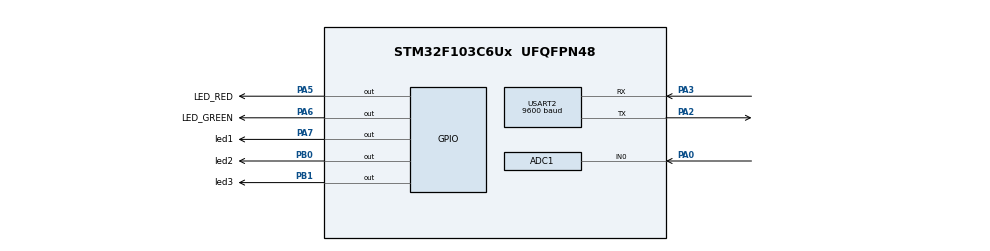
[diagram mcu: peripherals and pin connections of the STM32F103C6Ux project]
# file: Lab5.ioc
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ADC1.Channel-0\#ChannelRegularConversion=ADC_CHANNEL_0
ADC1.ContinuousConvMode=ENABLE
ADC1.NbrOfConversionFlag=1
ADC1.Rank-0\#ChannelRegularConversion=1
ADC1.SamplingTime-0\#ChannelRegularConversion=ADC_SAMPLETIME_1CYCLE_5
ADC1.master=1
Mcu.Family=STM32F1
Mcu.Name=STM32F103C6Ux
Mcu.Package=UFQFPN48
NVIC.PriorityGroup=NVIC_PRIORITYGROUP_4
NVIC.TIM2_IRQn=true\:0\:0\:false\:false\:true\:true\:true
NVIC.USART2_IRQn=true\:0\:0\:false\:false\:true\:true\:true
PA0-WKUP.Signal=ADCx_IN0
PA2.Mode=Asynchronous
PA2.Signal=USART2_TX
PA3.Mode=Asynchronous
PA3.Signal=USART2_RX
PA5.GPIO_Label=LED_RED
PA5.Signal=GPIO_Output
PA6.GPIO_Label=LED_GREEN
PA6.Signal=GPIO_Output
PA7.GPIO_Label=led1
PA7.Signal=GPIO_Output
PB0.GPIO_Label=led2
PB0.Signal=GPIO_Output
PB1.GPIO_Label=led3
PB1.Signal=GPIO_Output
ProjectManager.HeapSize=0x200
ProjectManager.StackSize=0x400
ProjectManager.TargetToolchain=STM32CubeIDE
RCC.APB1Freq_Value=8000000
RCC.APB2Freq_Value=8000000
SH.ADCx_IN0.0=ADC1_IN0,IN0
TIM2.Period=9
TIM2.Prescaler=7999
USART2.BaudRate=9600
USART2.VirtualMode=VM_ASYNC
VP_SYS_VS_ND.Mode=No_Debug
VP_TIM2_VS_ClockSourceINT.Mode=Internal
board=custom

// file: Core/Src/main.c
/* USER CODE BEGIN Header */
/**
  ******************************************************************************
  * @file           : main.c
  * @brief          : Main program body
  ******************************************************************************
  * @attention
  *
  * <h2><center>&copy; Copyright (c) 2023 STMicroelectronics.
  * All rights reserved.</center></h2>
  *
  * This software component is licensed by ST under BSD 3-Clause license,
  * the "License"; You may not use this file except in compliance with the
  * License. You may obtain a copy of the License at:
  *                        opensource.org/licenses/BSD-3-Clause
  *
  ******************************************************************************
  */
/* USER CODE END Header */
#include "main.h"

/* USER CODE BEGIN Includes */
#include "scheduler.h"
#include "fsm.h"
#include "software_timer.h"
/* USER CODE END Includes */

ADC_HandleTypeDef hadc1;

TIM_HandleTypeDef htim2;

UART_HandleTypeDef huart2;

void SystemClock_Config(void);
static void MX_TIM2_Init(void);
static void MX_GPIO_Init(void);
static void MX_ADC1_Init(void);
static void MX_USART2_UART_Init(void);

/* USER CODE BEGIN 0 */
void led1_test(){
	HAL_GPIO_TogglePin(led1_GPIO_Port, led1_Pin);
}
void led2_test(){
	HAL_GPIO_TogglePin(led2_GPIO_Port, led2_Pin);
}
void led3_test(){
	HAL_GPIO_TogglePin(led3_GPIO_Port, led3_Pin);

}
void LED_RED_test(){
	HAL_GPIO_TogglePin(LED_RED_GPIO_Port, LED_RED_Pin);

}
void LED_GREEN_test(){
	HAL_GPIO_TogglePin(LED_GREEN_GPIO_Port, LED_GREEN_Pin);
}

void HAL_UART_RxCpltCallback(UART_HandleTypeDef *huart){
	if(huart->Instance == USART2){

		HAL_UART_Transmit(&huart2, &temp, 1, 50);
		buffer[index_buffer++] = temp;

		if(index_buffer == 30) index_buffer = 0;
		buffer_flag = 1;
		HAL_UART_Receive_IT(&huart2, &temp, 1);

	}
}

void lab4(void){
	ADC_Value = HAL_ADC_GetValue(&hadc1);
	if(buffer_flag == 1){
		command_parser_fsm();
		buffer_flag = 0;
	}
	uart_communication_fsm();
}

/* USER CODE END 0 */

int main(void)
{

  /* MCU Configuration--------------------------------------------------------*/

  /* Reset of all peripherals, Initializes the Flash interface and the Systick. */
  HAL_Init();

  /* Configure the system clock */
  SystemClock_Config();

  /* Initialize all configured peripherals */
  MX_TIM2_Init();
  MX_GPIO_Init();
  MX_ADC1_Init();
  MX_USART2_UART_Init();
  /* USER CODE BEGIN 2 */
  HAL_TIM_Base_Start_IT(&htim2);
  HAL_UART_Receive_IT(&huart2, &temp, 1);
//  setTimer1(100);
//  setTimer2(100);
  HAL_ADC_Start(&hadc1);
  /* USER CODE END 2 */

  /* Infinite loop */
  /* USER CODE BEGIN WHILE */
  // Because this is function pointer so no () notation if we call function it should be led1_test()
  SCH_Init();
  SCH_Add_Task(led1_test, 200, 0);	// 1-shot test
  SCH_Add_Task(led2_test, 100, 100);
  SCH_Add_Task(led3_test, 100, 150);
  SCH_Add_Task(LED_RED_test, 100, 200);
  SCH_Add_Task(LED_GREEN_test, 100, 250);

//  SCH_Add_Task(lab4, 1, 100);
  while (1)
  {
    /* USER CODE END WHILE */

    /* USER CODE BEGIN 3 */
//	  ADC_Value = HAL_ADC_GetValue(&hadc1);
//	  if(buffer_flag == 1){
//		  command_parser_fsm();
//		  buffer_flag  = 0;
//	  }
//
//	  uart_communication_fsm();
	  SCH_Dispatch_Tasks();

  }
  /* USER CODE END 3 */
}

void SystemClock_Config(void)
{
  RCC_OscInitTypeDef RCC_OscInitStruct = {0};
  RCC_ClkInitTypeDef RCC_ClkInitStruct = {0};
  RCC_PeriphCLKInitTypeDef PeriphClkInit = {0};

  /** Initializes the RCC Oscillators according to the specified parameters
  * in the RCC_OscInitTypeDef structure.
  */
  RCC_OscInitStruct.OscillatorType = RCC_OSCILLATORTYPE_HSI;
  RCC_OscInitStruct.HSIState = RCC_HSI_ON;
  RCC_OscInitStruct.HSICalibrationValue = RCC_HSICALIBRATION_DEFAULT;
  RCC_OscInitStruct.PLL.PLLState = RCC_PLL_NONE;
  if (HAL_RCC_OscConfig(&RCC_OscInitStruct) != HAL_OK)
  {
    Error_Handler();
  }
  /** Initializes the CPU, AHB and APB buses clocks
  */
  RCC_ClkInitStruct.ClockType = RCC_CLOCKTYPE_HCLK|RCC_CLOCKTYPE_SYSCLK
                              |RCC_CLOCKTYPE_PCLK1|RCC_CLOCKTYPE_PCLK2;
  RCC_ClkInitStruct.SYSCLKSource = RCC_SYSCLKSOURCE_HSI;
  RCC_ClkInitStruct.AHBCLKDivider = RCC_SYSCLK_DIV1;
  RCC_ClkInitStruct.APB1CLKDivider = RCC_HCLK_DIV1;
  RCC_ClkInitStruct.APB2CLKDivider = RCC_HCLK_DIV1;

  if (HAL_RCC_ClockConfig(&RCC_ClkInitStruct, FLASH_LATENCY_0) != HAL_OK)
  {
    Error_Handler();
  }
  PeriphClkInit.PeriphClockSelection = RCC_PERIPHCLK_ADC;
  PeriphClkInit.AdcClockSelection = RCC_ADCPCLK2_DIV2;
  if (HAL_RCCEx_PeriphCLKConfig(&PeriphClkInit) != HAL_OK)
  {
    Error_Handler();
  }
}

static void MX_ADC1_Init(void)
{

  ADC_ChannelConfTypeDef sConfig = {0};

  /** Common config
  */
  hadc1.Instance = ADC1;
  hadc1.Init.ScanConvMode = ADC_SCAN_DISABLE;
  hadc1.Init.ContinuousConvMode = ENABLE;
  hadc1.Init.DiscontinuousConvMode = DISABLE;
  hadc1.Init.ExternalTrigConv = ADC_SOFTWARE_START;
  hadc1.Init.DataAlign = ADC_DATAALIGN_RIGHT;
  hadc1.Init.NbrOfConversion = 1;
  if (HAL_ADC_Init(&hadc1) != HAL_OK)
  {
    Error_Handler();
  }
  /** Configure Regular Channel
  */
  sConfig.Channel = ADC_CHANNEL_0;
  sConfig.Rank = ADC_REGULAR_RANK_1;
  sConfig.SamplingTime = ADC_SAMPLETIME_1CYCLE_5;
  if (HAL_ADC_ConfigChannel(&hadc1, &sConfig) != HAL_OK)
  {
    Error_Handler();
  }

}

static void MX_TIM2_Init(void)
{

  TIM_ClockConfigTypeDef sClockSourceConfig = {0};
  TIM_MasterConfigTypeDef sMasterConfig = {0};

  htim2.Instance = TIM2;
  htim2.Init.Prescaler = 7999;
  htim2.Init.CounterMode = TIM_COUNTERMODE_UP;
  htim2.Init.Period = 9;
  htim2.Init.ClockDivision = TIM_CLOCKDIVISION_DIV1;
  htim2.Init.AutoReloadPreload = TIM_AUTORELOAD_PRELOAD_DISABLE;
  if (HAL_TIM_Base_Init(&htim2) != HAL_OK)
  {
    Error_Handler();
  }
  sClockSourceConfig.ClockSource = TIM_CLOCKSOURCE_INTERNAL;
  if (HAL_TIM_ConfigClockSource(&htim2, &sClockSourceConfig) != HAL_OK)
  {
    Error_Handler();
  }
  sMasterConfig.MasterOutputTrigger = TIM_TRGO_RESET;
  sMasterConfig.MasterSlaveMode = TIM_MASTERSLAVEMODE_DISABLE;
  if (HAL_TIMEx_MasterConfigSynchronization(&htim2, &sMasterConfig) != HAL_OK)
  {
    Error_Handler();
  }

}

static void MX_USART2_UART_Init(void)
{

  huart2.Instance = USART2;
  huart2.Init.BaudRate = 9600;
  huart2.Init.WordLength = UART_WORDLENGTH_8B;
  huart2.Init.StopBits = UART_STOPBITS_1;
  huart2.Init.Parity = UART_PARITY_NONE;
  huart2.Init.Mode = UART_MODE_TX_RX;
  huart2.Init.HwFlowCtl = UART_HWCONTROL_NONE;
  huart2.Init.OverSampling = UART_OVERSAMPLING_16;
  if (HAL_UART_Init(&huart2) != HAL_OK)
  {
    Error_Handler();
  }

}

static void MX_GPIO_Init(void)
{
  GPIO_InitTypeDef GPIO_InitStruct = {0};

  /* GPIO Ports Clock Enable */
  __HAL_RCC_GPIOA_CLK_ENABLE();
  __HAL_RCC_GPIOB_CLK_ENABLE();

  /*Configure GPIO pin Output Level */
  HAL_GPIO_WritePin(GPIOA, LED_RED_Pin|LED_GREEN_Pin|led1_Pin, GPIO_PIN_RESET);

  /*Configure GPIO pin Output Level */
  HAL_GPIO_WritePin(GPIOB, led2_Pin|led3_Pin, GPIO_PIN_RESET);

  /*Configure GPIO pins : LED_RED_Pin LED_GREEN_Pin led1_Pin */
  GPIO_InitStruct.Pin = LED_RED_Pin|LED_GREEN_Pin|led1_Pin;
  GPIO_InitStruct.Mode = GPIO_MODE_OUTPUT_PP;
  GPIO_InitStruct.Pull = GPIO_NOPULL;
  GPIO_InitStruct.Speed = GPIO_SPEED_FREQ_LOW;
  HAL_GPIO_Init(GPIOA, &GPIO_InitStruct);

  /*Configure GPIO pins : led2_Pin led3_Pin */
  GPIO_InitStruct.Pin = led2_Pin|led3_Pin;
  GPIO_InitStruct.Mode = GPIO_MODE_OUTPUT_PP;
  GPIO_InitStruct.Pull = GPIO_NOPULL;
  GPIO_InitStruct.Speed = GPIO_SPEED_FREQ_LOW;
  HAL_GPIO_Init(GPIOB, &GPIO_InitStruct);

}

/* USER CODE BEGIN 4 */
//int counter= 0;
void HAL_TIM_PeriodElapsedCallback(TIM_HandleTypeDef* htim){
	SCH_Update();
//	timerRun();

}
/* USER CODE END 4 */

void Error_Handler(void)
{
  __disable_irq();
  while (1)
  {
  }
}

/************************ (C) COPYRIGHT STMicroelectronics *****END OF FILE****/
